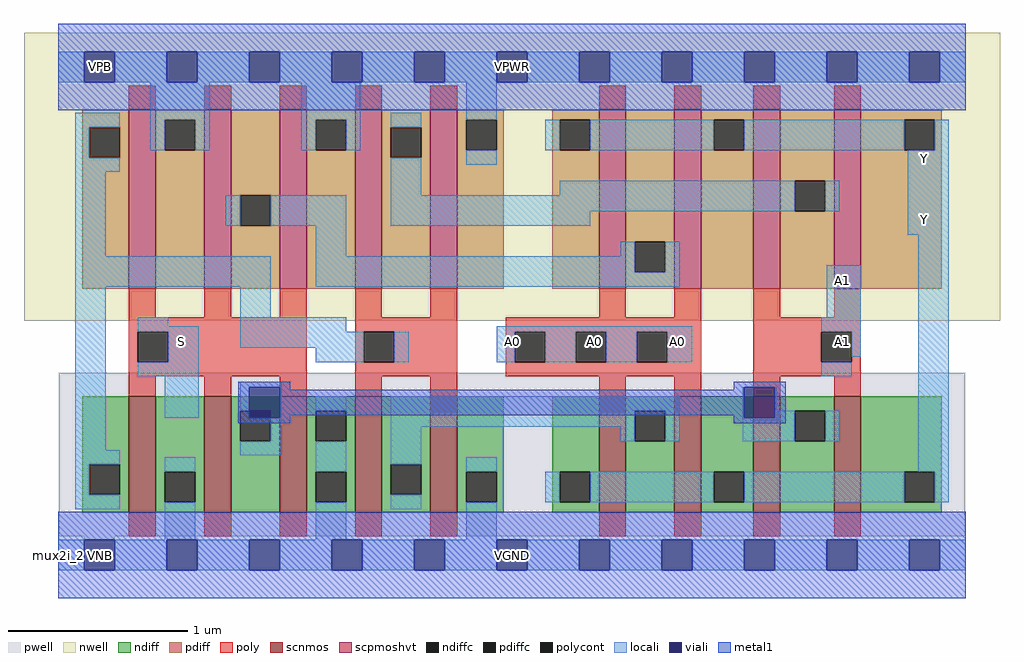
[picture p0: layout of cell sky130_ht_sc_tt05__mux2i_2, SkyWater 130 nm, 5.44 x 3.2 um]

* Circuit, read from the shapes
.subckt sky130_ht_sc_tt05__mux2i_2 A0 A1 S VGND VNB VPB VPWR Y
XM1 VGND S n1 VNB sky130_fd_pr__nfet_01v8 w=0.65 l=0.15
XM2 n2 S VGND VNB sky130_fd_pr__nfet_01v8 w=0.65 l=0.15 m=2
XM3 n3 n1 VGND VNB sky130_fd_pr__nfet_01v8 w=0.65 l=0.15 m=2
XM4 n3 A0 Y VNB sky130_fd_pr__nfet_01v8 w=0.65 l=0.15 m=2
XM5 n2 A1 Y VNB sky130_fd_pr__nfet_01v8 w=0.65 l=0.15 m=2
XM6 VPWR S n1 VPB sky130_fd_pr__pfet_01v8_hvt w=1 l=0.15
XM7 n4 S VPWR VPB sky130_fd_pr__pfet_01v8_hvt w=1 l=0.15 m=2
XM8 n5 n1 VPWR VPB sky130_fd_pr__pfet_01v8_hvt w=1 l=0.15 m=2
XM9 n4 A0 Y VPB sky130_fd_pr__pfet_01v8_hvt w=1 l=0.15 m=2
XM10 n5 A1 Y VPB sky130_fd_pr__pfet_01v8_hvt w=1 l=0.15 m=2
.ends

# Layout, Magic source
magic
tech sky130A
magscale 1 2
<< nwell >>
rect -38 261 1050 582
<< pwell >>
rect 1 21 1011 203
rect 29 -17 63 21
<< scnmos >>
rect 603 47 633 177
rect 687 47 717 177
rect 775 47 805 177
rect 865 47 895 177
rect 79 47 109 177
rect 163 47 193 177
rect 247 47 277 177
rect 331 47 361 177
rect 415 47 445 177
<< scpmoshvt >>
rect 603 297 633 497
rect 687 297 717 497
rect 775 297 805 497
rect 865 297 895 497
rect 79 297 109 497
rect 163 297 193 497
rect 247 297 277 497
rect 331 297 361 497
rect 415 297 445 497
<< ndiff >>
rect 361 47 415 67
rect 361 67 371 101
rect 405 67 415 101
rect 361 101 415 177
rect 445 47 497 59
rect 445 59 455 93
rect 489 59 497 93
rect 445 93 497 177
rect 277 47 331 59
rect 277 59 287 93
rect 321 59 331 93
rect 277 93 331 127
rect 277 127 287 161
rect 321 127 331 161
rect 277 161 331 177
rect 193 47 247 127
rect 193 127 203 161
rect 237 127 247 161
rect 193 161 247 177
rect 109 47 163 59
rect 109 59 119 93
rect 153 59 163 93
rect 109 93 163 177
rect 895 47 985 59
rect 895 59 943 93
rect 977 59 985 93
rect 895 93 985 177
rect 805 47 865 127
rect 805 127 821 161
rect 855 127 865 161
rect 805 161 865 177
rect 717 47 775 59
rect 717 59 731 93
rect 765 59 775 93
rect 717 93 775 177
rect 633 47 687 127
rect 633 127 643 161
rect 677 127 687 161
rect 633 161 687 177
rect 551 47 603 59
rect 551 59 559 93
rect 593 59 603 93
rect 551 93 603 177
rect 27 47 79 67
rect 27 67 35 101
rect 69 67 79 101
rect 27 101 79 177
<< pdiff >>
rect 361 297 415 443
rect 361 443 371 477
rect 405 443 415 477
rect 361 477 415 497
rect 445 297 497 451
rect 445 451 455 485
rect 489 451 497 485
rect 445 485 497 497
rect 27 297 79 443
rect 27 443 35 477
rect 69 443 79 477
rect 27 477 79 497
rect 551 297 603 451
rect 551 451 559 485
rect 593 451 603 485
rect 551 485 603 497
rect 633 297 687 315
rect 633 315 643 349
rect 677 315 687 349
rect 633 349 687 497
rect 717 297 775 451
rect 717 451 731 485
rect 765 451 775 485
rect 717 485 775 497
rect 805 297 865 383
rect 805 383 821 417
rect 855 383 865 417
rect 805 417 865 497
rect 895 297 985 451
rect 895 451 943 485
rect 977 451 985 485
rect 895 485 985 497
rect 109 297 163 451
rect 109 451 119 485
rect 153 451 163 485
rect 109 485 163 497
rect 193 297 247 367
rect 193 367 203 401
rect 237 367 247 401
rect 193 401 247 497
rect 277 297 331 451
rect 277 451 287 485
rect 321 451 331 485
rect 277 485 331 497
<< ndiffc >>
rect 821 127 855 161
rect 643 127 677 161
rect 203 127 237 161
rect 287 127 321 161
rect 371 67 405 101
rect 35 67 69 101
rect 287 59 321 93
rect 943 59 977 93
rect 559 59 593 93
rect 455 59 489 93
rect 731 59 765 93
rect 119 59 153 93
<< pdiffc >>
rect 943 451 977 485
rect 455 451 489 485
rect 731 451 765 485
rect 287 451 321 485
rect 559 451 593 485
rect 119 451 153 485
rect 371 443 405 477
rect 35 443 69 477
rect 821 383 855 417
rect 203 367 237 401
rect 643 315 677 349
<< poly >>
rect 865 497 895 523
rect 603 497 633 523
rect 687 497 717 523
rect 79 497 109 523
rect 163 497 193 523
rect 247 497 277 523
rect 331 497 361 523
rect 415 497 445 523
rect 775 497 805 523
rect 79 177 109 199
rect 163 177 193 199
rect 247 177 277 199
rect 79 199 277 215
rect 79 215 89 249
rect 123 215 277 249
rect 79 249 277 265
rect 79 265 109 297
rect 163 265 193 297
rect 247 265 277 297
rect 331 177 361 199
rect 415 177 445 199
rect 331 199 445 215
rect 331 215 341 249
rect 375 215 445 249
rect 331 249 445 265
rect 331 265 361 297
rect 415 265 445 297
rect 603 177 633 199
rect 687 177 717 199
rect 499 199 717 215
rect 499 215 509 249
rect 543 215 577 249
rect 611 215 645 249
rect 679 215 717 249
rect 499 249 717 265
rect 603 265 633 297
rect 687 265 717 297
rect 775 177 805 199
rect 865 177 895 199
rect 775 199 895 215
rect 775 215 851 249
rect 885 215 895 249
rect 775 249 895 265
rect 775 265 805 297
rect 865 265 895 297
rect 775 21 805 47
rect 687 21 717 47
rect 603 21 633 47
rect 865 21 895 47
rect 79 21 109 47
rect 163 21 193 47
rect 247 21 277 47
rect 331 21 361 47
rect 415 21 445 47
<< polycont >>
rect 645 215 679 249
rect 509 215 543 249
rect 89 215 123 249
rect 577 215 611 249
rect 851 215 885 249
rect 341 215 375 249
<< locali >>
rect 103 451 119 485
rect 153 451 169 485
rect 103 485 169 527
rect 63 527 121 561
rect 155 527 213 561
rect 523 527 581 561
rect 615 527 673 561
rect 707 527 765 561
rect 799 527 857 561
rect 891 527 949 561
rect 983 527 1012 561
rect 19 51 69 67
rect 19 67 35 101
rect 19 101 69 117
rect 19 117 53 215
rect 19 215 53 231
rect 287 215 341 231
rect 19 231 53 249
rect 203 231 341 249
rect 19 249 53 265
rect 203 249 321 265
rect 19 265 53 299
rect 203 265 237 299
rect 19 299 237 333
rect 19 333 53 427
rect 19 427 69 443
rect 19 443 35 477
rect 19 477 69 493
rect 371 477 405 493
rect 543 451 559 485
rect 977 59 993 93
rect 959 93 993 357
rect 947 357 993 451
rect 977 451 993 485
rect 765 451 943 485
rect 593 451 731 485
rect 455 435 489 451
rect 371 367 593 383
rect 371 383 821 401
rect 371 401 405 417
rect 559 401 821 417
rect 371 417 405 443
rect 855 383 871 417
rect 187 367 203 401
rect 287 299 693 315
rect 287 315 643 333
rect 677 315 693 333
rect 287 333 321 349
rect 627 333 643 349
rect 677 333 693 349
rect 287 349 321 367
rect 237 367 321 401
rect 885 221 895 249
rect 851 249 895 265
rect 857 265 895 323
rect 119 153 157 199
rect 89 199 157 215
rect 123 215 157 249
rect 89 249 157 255
rect 89 255 123 265
rect 489 215 509 249
rect 543 215 577 249
rect 611 215 645 249
rect 679 215 707 249
rect 489 249 707 255
rect 375 215 391 249
rect 851 199 885 215
rect 203 111 249 127
rect 237 127 249 153
rect 247 153 249 161
rect 203 161 213 187
rect 247 161 249 187
rect 203 187 249 193
rect 763 127 821 153
rect 763 153 765 161
rect 799 153 821 161
rect 763 161 765 187
rect 799 161 801 187
rect 371 101 405 127
rect 371 127 405 143
rect 627 127 643 143
rect 677 127 693 143
rect 371 143 643 161
rect 677 143 693 161
rect 371 161 693 177
rect 287 161 321 177
rect 855 127 871 161
rect 287 93 321 127
rect 119 93 153 109
rect 455 93 489 109
rect 543 59 559 93
rect 765 59 943 93
rect 593 59 731 93
rect 371 51 405 67
rect 615 -17 673 17
rect 707 -17 765 17
rect 799 -17 857 17
rect 891 -17 949 17
rect 983 -17 1012 17
rect 0 527 29 561
rect 271 451 287 485
rect 321 451 337 485
rect 271 485 337 527
rect 247 527 305 561
rect 455 485 489 527
rect 431 527 489 561
rect 339 527 397 561
rect 523 -17 581 17
rect 431 -17 489 17
rect 455 17 489 59
rect 339 -17 397 17
rect 247 -17 305 17
rect 287 17 321 59
rect 63 -17 121 17
rect 155 -17 213 17
rect 119 17 153 59
rect 0 -17 29 17
<< viali >>
rect 949 527 983 561
rect 857 527 891 561
rect 765 527 799 561
rect 673 527 707 561
rect 581 527 615 561
rect 489 527 523 561
rect 397 527 431 561
rect 305 527 339 561
rect 213 527 247 561
rect 121 527 155 561
rect 29 527 63 561
rect 765 153 799 187
rect 213 153 247 187
rect 305 -17 339 17
rect 949 -17 983 17
rect 581 -17 615 17
rect 213 -17 247 17
rect 857 -17 891 17
rect 489 -17 523 17
rect 121 -17 155 17
rect 765 -17 799 17
rect 397 -17 431 17
rect 29 -17 63 17
rect 673 -17 707 17
<< metal1 >>
rect 0 496 1012 527
rect 0 527 29 561
rect 63 527 121 561
rect 155 527 213 561
rect 247 527 305 561
rect 339 527 397 561
rect 431 527 489 561
rect 523 527 581 561
rect 615 527 673 561
rect 707 527 765 561
rect 799 527 857 561
rect 891 527 949 561
rect 983 527 1012 561
rect 0 561 1012 592
rect 201 147 259 153
rect 753 147 811 153
rect 201 153 213 156
rect 247 153 259 156
rect 753 153 765 156
rect 799 153 811 156
rect 201 156 213 184
rect 247 156 765 184
rect 799 156 811 184
rect 201 184 213 187
rect 247 184 259 187
rect 753 184 765 187
rect 799 184 811 187
rect 201 187 259 193
rect 753 187 811 193
rect 0 -48 1012 -17
rect 0 -17 29 17
rect 63 -17 121 17
rect 155 -17 213 17
rect 247 -17 305 17
rect 339 -17 397 17
rect 431 -17 489 17
rect 523 -17 581 17
rect 615 -17 673 17
rect 707 -17 765 17
rect 799 -17 857 17
rect 891 -17 949 17
rect 983 -17 1012 17
rect 0 17 1012 48
<< labels >>
flabel locali s 489 221 523 255 0 FreeSans 200 0 0 0 A0
port 1 nsew signal input
flabel locali s 581 221 615 255 0 FreeSans 200 0 0 0 A0
port 1 nsew signal input
flabel locali s 673 221 707 255 0 FreeSans 200 0 0 0 A0
port 1 nsew signal input
flabel locali s 857 221 891 255 0 FreeSans 200 0 0 0 A1
port 2 nsew signal input
flabel locali s 857 289 891 323 0 FreeSans 200 0 0 0 A1
port 2 nsew signal input
flabel locali s 121 221 155 255 0 FreeSans 200 0 0 0 S
port 3 nsew signal input
flabel locali s 949 357 983 391 0 FreeSans 200 0 0 0 Y
port 8 nsew signal output
flabel locali s 949 425 983 459 0 FreeSans 200 0 0 0 Y
port 8 nsew signal output
flabel pwell s 30 -17 64 17 0 FreeSans 200 0 0 0 VNB
port 5 nsew ground bidirectional
flabel nwell s 30 527 64 561 0 FreeSans 200 0 0 0 VPB
port 6 nsew power bidirectional
flabel metal1 s 30 -17 64 17 0 FreeSans 200 0 0 0 VGND
port 4 nsew ground bidirectional abutment
flabel metal1 s 30 527 64 561 0 FreeSans 200 0 0 0 VPWR
port 7 nsew power bidirectional abutment
rlabel metal1 s 0 -48 1012 48 1 VGND
port 4 nsew ground bidirectional abutment
rlabel metal1 s 0 496 1012 592 1 VPWR
port 7 nsew power bidirectional abutment
rlabel comment s 0 0 0 0 4 mux2i_2
<< properties >>
string FIXED_BBOX 0 0 1012 544
string GDS_FILE $PDKPATH/libs.ref/sky130_fd_sc_hd/gds/sky130_ht_sc_tt05.gds
string GDS_START 134
string GDS_END 7254
string LEFclass CORE
string LEFsite unithd
string LEFsymmetry X Y R90
<< end >>
